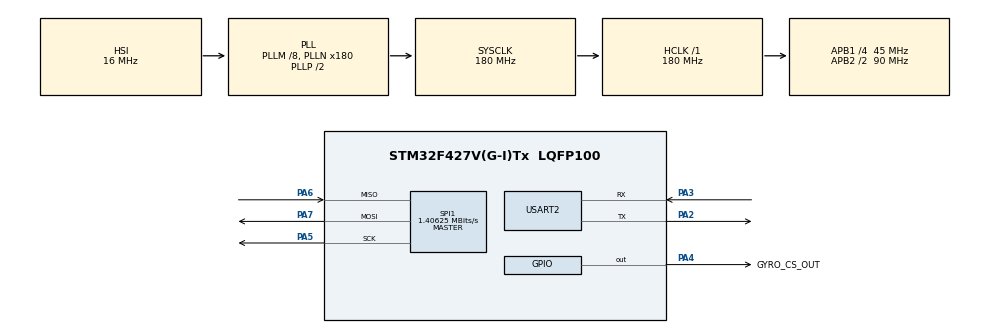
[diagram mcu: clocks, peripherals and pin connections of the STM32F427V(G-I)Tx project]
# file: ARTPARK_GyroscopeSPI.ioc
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Mcu.Family=STM32F4
Mcu.Name=STM32F427V(G-I)Tx
Mcu.Package=LQFP100
NVIC.PriorityGroup=NVIC_PRIORITYGROUP_4
PA2.Mode=Asynchronous
PA2.Signal=USART2_TX
PA3.Mode=Asynchronous
PA3.Signal=USART2_RX
PA4.GPIO_Label=GYRO_CS_OUT
PA4.Signal=GPIO_Output
PA5.Mode=Full_Duplex_Master
PA5.Signal=SPI1_SCK
PA6.Mode=Full_Duplex_Master
PA6.Signal=SPI1_MISO
PA7.Mode=Full_Duplex_Master
PA7.Signal=SPI1_MOSI
ProjectManager.HeapSize=0x200
ProjectManager.StackSize=0x400
ProjectManager.TargetToolchain=STM32CubeIDE
RCC.48MHZClocksFreq_Value=90000000
RCC.AHBFreq_Value=180000000
RCC.APB1CLKDivider=RCC_HCLK_DIV4
RCC.APB1Freq_Value=45000000
RCC.APB1TimFreq_Value=90000000
RCC.APB2CLKDivider=RCC_HCLK_DIV2
RCC.APB2Freq_Value=90000000
RCC.APB2TimFreq_Value=180000000
RCC.CortexFreq_Value=180000000
RCC.HCLKFreq_Value=180000000
RCC.HSE_VALUE=25000000
RCC.HSI_VALUE=16000000
RCC.LSE_VALUE=32768
RCC.PLLM=8
RCC.PLLN=180
RCC.SYSCLKFreq_VALUE=180000000
RCC.SYSCLKSource=RCC_SYSCLKSOURCE_PLLCLK
RCC.VCOOutputFreq_Value=360000000
SPI1.BaudRatePrescaler=SPI_BAUDRATEPRESCALER_64
SPI1.CRCCalculation=SPI_CRCCALCULATION_DISABLE
SPI1.CalculateBaudRate=1.40625 MBits/s
SPI1.Direction=SPI_DIRECTION_2LINES
SPI1.Mode=SPI_MODE_MASTER
SPI1.VirtualType=VM_MASTER
USART2.VirtualMode=VM_ASYNC
board=custom

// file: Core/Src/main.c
/* USER CODE BEGIN Header */
/**
  ******************************************************************************
  * @file           : main.c
  * @brief          : Main program body
  ******************************************************************************
  * @attention
  *
  * Copyright (c) 2024 STMicroelectronics.
  * All rights reserved.
  *
  * This software is licensed under terms that can be found in the LICENSE file
  * in the root directory of this software component.
  * If no LICENSE file comes with this software, it is provided AS-IS.
  *
  ******************************************************************************
  */
/* USER CODE END Header */
#include "main.h"

/* USER CODE BEGIN Includes */
#include <string.h>
#include <stdio.h>
#include "i3g4250d_reg.h"
#include "stm32f4xx_hal.h"
/* USER CODE END Includes */

/* USER CODE BEGIN PM */
#define    BOOT_TIME            10
/* USER CODE END PM */

SPI_HandleTypeDef hspi1;
UART_HandleTypeDef huart2;

/* USER CODE BEGIN PV */
static int16_t data_raw_angular_rate[3];
static float_t angular_rate_mdps[3];
static uint8_t whoamI;
static uint8_t tx_buffer[1000];
/* USER CODE END PV */

void SystemClock_Config(void);
static void MX_GPIO_Init(void);
static void MX_SPI1_Init(void);
static void MX_USART2_UART_Init(void);
/* USER CODE BEGIN PFP */
static int32_t write_to_i3g4250d(void *handle, uint8_t reg, const uint8_t *bufp,
                              uint16_t len);
static int32_t read_from_i3g4250d(void *handle, uint8_t reg, uint8_t *bufp,
                             uint16_t len);
static void power_on_delay(uint32_t ms);
/* USER CODE END PFP */

int main(void)
{

  /* MCU Configuration--------------------------------------------------------*/

  /* Reset of all peripherals, Initializes the Flash interface and the Systick. */
  HAL_Init();

  /* Configure the system clock */
  SystemClock_Config();

  /* Initialize all configured peripherals */
  MX_GPIO_Init();
  MX_SPI1_Init();
  MX_USART2_UART_Init();
  /* USER CODE BEGIN 2 */
  stmdev_ctx_t dev_ctx;

  /* Initialises gyro driver interface */
  dev_ctx.write_reg = write_to_i3g4250d;
  dev_ctx.read_reg = read_from_i3g4250d;
  dev_ctx.mdelay = power_on_delay;
  dev_ctx.handle = &hspi1;

  /* Wait sensor boot time this is called Power On Delay conceptually */
  platform_delay(BOOT_TIME);

  // Check device ID since i chose I3G4250D_ID
  i3g4250d_device_id_get(&dev_ctx, &whoamI);
  if (whoamI != I3G4250D_ID)
	  while (1); /*manage here device not found */

  /* Configure filtering chain -  Gyroscope - High Pass */
  i3g4250d_filter_path_set(&dev_ctx, I3G4250D_LPF1_HP_ON_OUT);
  i3g4250d_hp_bandwidth_set(&dev_ctx, I3G4250D_HP_LEVEL_3);

  /* Set Output Data Rate */
  i3g4250d_data_rate_set(&dev_ctx, I3G4250D_ODR_100Hz);
  /* USER CODE END 2 */

  /* Infinite loop */
  /* USER CODE BEGIN WHILE */
  while (1)
  {
	  uint8_t reg;

	  /* Read output only if new value is available */
	  i3g4250d_flag_data_ready_get(&dev_ctx, &reg);

	  if (reg) {
	  	  /* Read angular rate data */
	  	  memset(data_raw_angular_rate, 0x00, 3 * sizeof(int16_t));
	  	  /* Get the raw Angular velocity from the sensor - Coloriolis Forces*/
	  	  i3g4250d_angular_rate_raw_get(&dev_ctx, data_raw_angular_rate);

	  	  angular_rate_mdps[0] = i3g4250d_from_fs245dps_to_mdps(
	  							   data_raw_angular_rate[0]);
	  	  angular_rate_mdps[1] = i3g4250d_from_fs245dps_to_mdps(
	  							   data_raw_angular_rate[1]);
	  	  angular_rate_mdps[2] = i3g4250d_from_fs245dps_to_mdps(
	  							   data_raw_angular_rate[2]);
	  	  /*Send the Data via UART */
	  	  snprintf((char *)tx_buffer,
	  			  sizeof(tx_buffer),
	  			  "Angular Rate [mdps]:%4.2f\t%4.2f\t%4.2f\r\n",
	  			  angular_rate_mdps[0], angular_rate_mdps[1], angular_rate_mdps[2]);
	  	  HAL_UART_Transmit(&huart2, tx_buffer, sizeof(tx_buffer), 1000);
    /* USER CODE END WHILE */

  }
}

void SystemClock_Config(void)
{
  RCC_OscInitTypeDef RCC_OscInitStruct = {0};
  RCC_ClkInitTypeDef RCC_ClkInitStruct = {0};

  /** Configure the main internal regulator output voltage
  */
  __HAL_RCC_PWR_CLK_ENABLE();
  __HAL_PWR_VOLTAGESCALING_CONFIG(PWR_REGULATOR_VOLTAGE_SCALE1);

  /** Initializes the RCC Oscillators according to the specified parameters
  * in the RCC_OscInitTypeDef structure.
  */
  RCC_OscInitStruct.OscillatorType = RCC_OSCILLATORTYPE_HSI;
  RCC_OscInitStruct.HSIState = RCC_HSI_ON;
  RCC_OscInitStruct.HSICalibrationValue = RCC_HSICALIBRATION_DEFAULT;
  RCC_OscInitStruct.PLL.PLLState = RCC_PLL_ON;
  RCC_OscInitStruct.PLL.PLLSource = RCC_PLLSOURCE_HSI;
  RCC_OscInitStruct.PLL.PLLM = 8;
  RCC_OscInitStruct.PLL.PLLN = 180;
  RCC_OscInitStruct.PLL.PLLP = RCC_PLLP_DIV2;
  RCC_OscInitStruct.PLL.PLLQ = 4;
  if (HAL_RCC_OscConfig(&RCC_OscInitStruct) != HAL_OK)
  {
    Error_Handler();
  }

  /** Activate the Over-Drive mode
  */
  if (HAL_PWREx_EnableOverDrive() != HAL_OK)
  {
    Error_Handler();
  }

  /** Initializes the CPU, AHB and APB buses clocks
  */
  RCC_ClkInitStruct.ClockType = RCC_CLOCKTYPE_HCLK|RCC_CLOCKTYPE_SYSCLK
                              |RCC_CLOCKTYPE_PCLK1|RCC_CLOCKTYPE_PCLK2;
  RCC_ClkInitStruct.SYSCLKSource = RCC_SYSCLKSOURCE_PLLCLK;
  RCC_ClkInitStruct.AHBCLKDivider = RCC_SYSCLK_DIV1;
  RCC_ClkInitStruct.APB1CLKDivider = RCC_HCLK_DIV4;
  RCC_ClkInitStruct.APB2CLKDivider = RCC_HCLK_DIV2;

  if (HAL_RCC_ClockConfig(&RCC_ClkInitStruct, FLASH_LATENCY_5) != HAL_OK)
  {
    Error_Handler();
  }
}

static void MX_SPI1_Init(void)
{

  /* SPI1 parameter configuration*/
  hspi1.Instance = SPI1;
  hspi1.Init.Mode = SPI_MODE_MASTER;
  hspi1.Init.Direction = SPI_DIRECTION_2LINES;
  hspi1.Init.DataSize = SPI_DATASIZE_8BIT;
  hspi1.Init.CLKPolarity = SPI_POLARITY_LOW;
  hspi1.Init.CLKPhase = SPI_PHASE_1EDGE;
  hspi1.Init.NSS = SPI_NSS_SOFT;
  hspi1.Init.BaudRatePrescaler = SPI_BAUDRATEPRESCALER_64;
  hspi1.Init.FirstBit = SPI_FIRSTBIT_MSB;
  hspi1.Init.TIMode = SPI_TIMODE_DISABLE;
  hspi1.Init.CRCCalculation = SPI_CRCCALCULATION_DISABLE;
  hspi1.Init.CRCPolynomial = 10;
  if (HAL_SPI_Init(&hspi1) != HAL_OK)
  {
    Error_Handler();
  }

}

static void MX_USART2_UART_Init(void)
{

  huart2.Instance = USART2;
  huart2.Init.BaudRate = 115200;
  huart2.Init.WordLength = UART_WORDLENGTH_8B;
  huart2.Init.StopBits = UART_STOPBITS_1;
  huart2.Init.Parity = UART_PARITY_NONE;
  huart2.Init.Mode = UART_MODE_TX_RX;
  huart2.Init.HwFlowCtl = UART_HWCONTROL_NONE;
  huart2.Init.OverSampling = UART_OVERSAMPLING_16;
  if (HAL_UART_Init(&huart2) != HAL_OK)
  {
    Error_Handler();
  }

}

static void MX_GPIO_Init(void)
{
  GPIO_InitTypeDef GPIO_InitStruct = {0};

  /* GPIO Ports Clock Enable */
  __HAL_RCC_GPIOA_CLK_ENABLE();

  /*Configure GPIO pin Output Level */
  HAL_GPIO_WritePin(GYRO_CS_OUT_GPIO_Port, GYRO_CS_OUT_Pin, GPIO_PIN_RESET);

  /*Configure GPIO pin : GYRO_CS_OUT_Pin */
  GPIO_InitStruct.Pin = GYRO_CS_OUT_Pin;
  GPIO_InitStruct.Mode = GPIO_MODE_OUTPUT_PP;
  GPIO_InitStruct.Pull = GPIO_NOPULL;
  GPIO_InitStruct.Speed = GPIO_SPEED_FREQ_LOW;
  HAL_GPIO_Init(GYRO_CS_OUT_GPIO_Port, &GPIO_InitStruct);

}

/* USER CODE BEGIN 4 */
/**
 * @brief  Writes data to a specified register of the Gyro.
 *
 * Sends register address followed by the data to be written.
 * The SPI write operation is executed by setting RW bit to `0` as per the datasheet.
 * @param[in] handle SPI handle to use for communication.
 * @param[in] reg Register address to which data needs to be written.
 * @param[in] bufp Pointer to the data buffer to be written.
 * @param[in] len Length of the data buffer in bytes.
 *
 * @return int32_t 0 on success, error code otherwise.
 */
static int32_t write_to_i3g4250d(void *handle, uint8_t reg, const uint8_t *bufp, uint16_t len)
{
    // Set RW bit to 0 for write operation
    reg &= 0x7F;  // (Binary = 01111111) Clear the MSB for write command

    HAL_GPIO_WritePin(GYRO_CS_OUT_GPIO_Port, GYRO_CS_OUT_Pin, GPIO_PIN_RESET); // Enable sensor
    HAL_SPI_Transmit(handle, &reg, 1, 1000);  // Send the 8 bits register address
    HAL_SPI_Transmit(handle, (uint8_t*)bufp, len, 1000); // Send the 8 bit data
    HAL_GPIO_WritePin(GYRO_CS_OUT_GPIO_Port, GYRO_CS_OUT_Pin, GPIO_PIN_SET); // Deselect the sensor

    return 0;
}

/**
 * @brief  Reads data from a specified register of the Gyro device.
 *
 * This function communicates with the device over SPI, sending the register address and then receiving the data from the
 * device. The SPI read operation is executed by setting the RW bit to `1` as per the datasheet. The CS pin is used
 * to select the device, and SPI transactions are done with the SPI handle.
 *
 * @param[in] handle SPI handle to use for communication.
 * @param[in] reg Register address from which data needs to be read.
 * @param[out] bufp Pointer to the buffer where the read data will be stored.
 * @param[in] len Length of the data buffer in bytes to be read.
 *
 * @return int32_t 0 on success, error code otherwise.
 */
static int32_t read_from_i3g4250d(void *handle, uint8_t reg, uint8_t *bufp, uint16_t len)
{
    // Set RW bit to 1 for read operation
    reg |= 0x80;  // Setting MSB to indicate a read command

    HAL_GPIO_WritePin(GYRO_CS_OUT_GPIO_Port, GYRO_CS_OUT_Pin, GPIO_PIN_RESET); // Enables sensor
    HAL_SPI_Transmit(handle, &reg, 1, 1000);  // Send 8 bit register address
    HAL_SPI_Receive(handle, bufp, len, 1000);  // Receive 8 bit data
    HAL_GPIO_WritePin(GYRO_CS_OUT_GPIO_Port, GYRO_CS_OUT_Pin, GPIO_PIN_SET); // Deselect the sensor

    return 0;
}

/*
 * @brief  Helps implement a blocking delay to initialise our gyroscope peripheral.
 * This function implements Power On Delay concept basically.
 *
 * @param  ms        delay in ms
 *
 */
static void power_on_delay(uint32_t ms)
{
	HAL_Delay(ms);
}

/* USER CODE END 4 */

void Error_Handler(void)
{
  __disable_irq();
  while (1)
  {
  }
}
